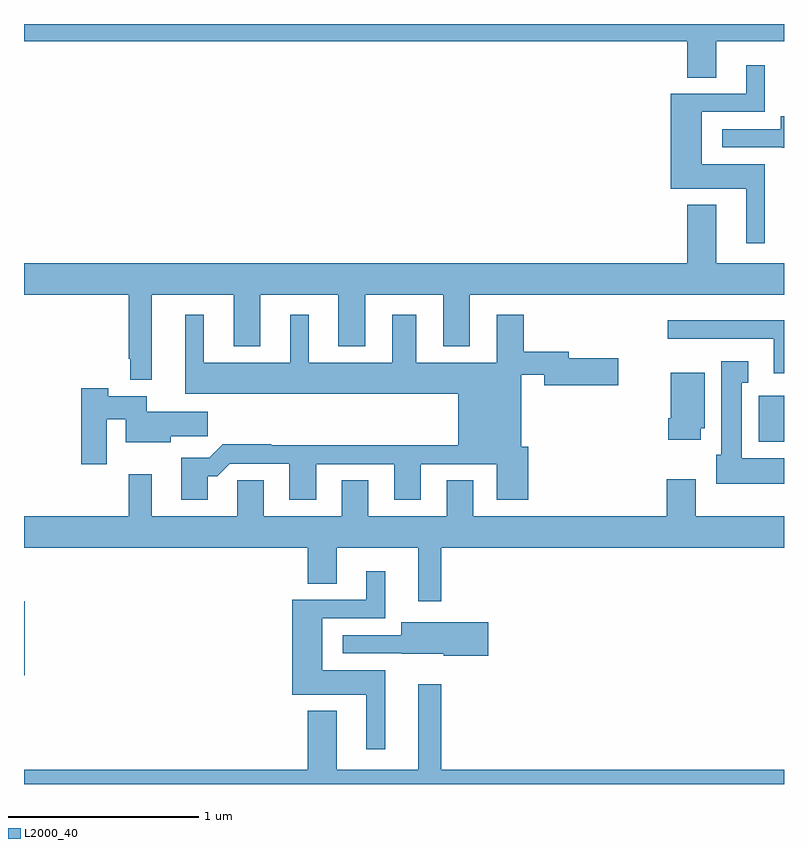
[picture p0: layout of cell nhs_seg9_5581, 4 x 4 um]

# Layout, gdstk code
import gdstk
lib = gdstk.Library(unit=1e-6, precision=1e-09)
def R(c, l, rs):  # rectangles x0, y0, x1, y1
    for r in rs: c.add(gdstk.rectangle(r[:2], r[2:], *l))
def P(c, l, *ps):  # polygons
    for p in ps: c.add(gdstk.Polygon(p, *l))
L2000_40 = (2000, 40)

nhs_seg9_5581 = lib.new_cell('nhs_seg9_5581')
R(nhs_seg9_5581, L2000_40, [(435,1205.073,435.005,1205.461), (438.866,1206.302,439,1206.544)])
P(nhs_seg9_5581, L2000_40, [(438.643,1208.408),(439,1208.408),(439,1208.5),(435,1208.5),(435,1208.408),(438.491,1208.408),(438.491,1208.218),(438.643,1208.218)],
  [(438.898,1207.762),(438.568,1207.762),(438.568,1208.037),(438.898,1208.037),(438.898,1208.284),(438.8,1208.284),(438.8,1208.133),(438.404,1208.133),(438.404,1207.634),(438.8,1207.634),(438.8,1207.347),(438.898,1207.347)],
  [(439,1208.014),(438.983,1208.014),(438.983,1207.947),(438.675,1207.947),(438.675,1207.851),(438.987,1207.851),(438.987,1207.85),(439,1207.85)],
  [(435.673,1207.076),(436.103,1207.076),(436.103,1206.803),(436.243,1206.803),(436.243,1207.076),(436.655,1207.076),(436.655,1206.803),(436.795,1206.803),(436.795,1207.076),(437.207,1207.076),(437.207,1206.803),(437.347,1206.803),(437.347,1207.076),(439,1207.076),(439,1207.24),(438.643,1207.24),(438.643,1207.549),(438.491,1207.549),(438.491,1207.24),(435,1207.24),(435,1207.076),(435.552,1207.076),(435.552,1206.739),(435.559,1206.739),(435.559,1206.627),(435.673,1206.627)],
  [(435.967,1206.119),(436.016,1206.119),(436.083,1206.186),(436.397,1206.186),(436.397,1205.997),(436.537,1205.997),(436.537,1206.183),(436.949,1206.183),(436.949,1205.997),(437.089,1205.997),(437.089,1206.183),(437.489,1206.183),(437.489,1205.997),(437.654,1205.997),(437.654,1206.276),(437.617,1206.276),(437.617,1206.654),(437.738,1206.654),(437.738,1206.599),(438.127,1206.599),(438.127,1206.741),(437.866,1206.741),(437.866,1206.775),(437.63,1206.775),(437.63,1206.97),(437.489,1206.97),(437.489,1206.718),(437.065,1206.718),(437.065,1206.97),(436.937,1206.97),(436.937,1206.718),(436.498,1206.718),(436.498,1206.97),(436.4,1206.97),(436.4,1206.718),(435.946,1206.718),(435.946,1206.97),(435.848,1206.97),(435.848,1206.554),(437.285,1206.554),(437.285,1206.284),(436.301,1206.284),(436.301,1206.287),(436.046,1206.287),(435.976,1206.217),(435.827,1206.217),(435.827,1205.997),(435.967,1205.997)],
  [(439,1206.94),(438.387,1206.94),(438.387,1206.843),(438.947,1206.843),(438.947,1206.662),(439,1206.662)],
  [(439,1206.214),(438.778,1206.214),(438.778,1206.611),(438.811,1206.611),(438.811,1206.724),(438.671,1206.724),(438.671,1206.234),(438.644,1206.234),(438.644,1206.08),(439,1206.08)],
  [(438.562,1206.372),(438.583,1206.372),(438.583,1206.664),(438.404,1206.664),(438.404,1206.424),(438.392,1206.424),(438.392,1206.312),(438.562,1206.312)],
  [(435.436,1206.419),(435.536,1206.419),(435.536,1206.299),(435.772,1206.299),(435.772,1206.331),(435.967,1206.331),(435.967,1206.46),(435.646,1206.46),(435.646,1206.541),(435.444,1206.541),(435.444,1206.584),(435.302,1206.584),(435.302,1206.183),(435.436,1206.183)],
  [(437.197,1205.744),(439,1205.744),(439,1205.908),(438.535,1205.908),(438.535,1206.103),(438.383,1206.103),(438.383,1205.908),(437.365,1205.908),(437.365,1206.098),(437.225,1206.098),(437.225,1205.908),(436.813,1205.908),(436.813,1206.098),(436.673,1206.098),(436.673,1205.908),(436.261,1205.908),(436.261,1206.098),(436.122,1206.098),(436.122,1205.908),(435.673,1205.908),(435.673,1206.13),(435.552,1206.13),(435.552,1205.908),(435,1205.908),(435,1205.744),(436.493,1205.744),(436.493,1205.554),(436.645,1205.554),(436.645,1205.744),(437.075,1205.744),(437.075,1205.463),(437.197,1205.463)],
  [(436.9,1205.098),(436.57,1205.098),(436.57,1205.373),(436.9,1205.373),(436.9,1205.62),(436.802,1205.62),(436.802,1205.469),(436.412,1205.469),(436.412,1204.97),(436.802,1204.97),(436.802,1204.683),(436.9,1204.683)],
  [(437.443,1205.352),(436.985,1205.352),(436.985,1205.283),(436.677,1205.283),(436.677,1205.187),(436.989,1205.187),(436.989,1205.186),(437.208,1205.186),(437.208,1205.174),(437.443,1205.174)],
  [(439,1204.576),(437.197,1204.576),(437.197,1205.026),(437.075,1205.026),(437.075,1204.576),(436.645,1204.576),(436.645,1204.885),(436.493,1204.885),(436.493,1204.576),(435,1204.576),(435,1204.5),(439,1204.5)])

lib.write_gds('nhs_seg9_5581.gds')
